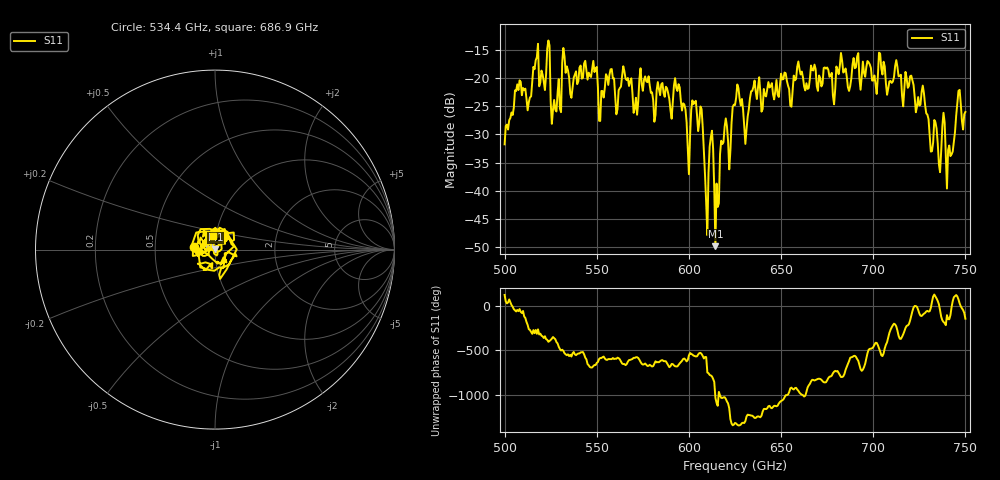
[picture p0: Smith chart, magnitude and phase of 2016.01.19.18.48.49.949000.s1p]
!Created with skrf (http://scikit-rf.org).
# GHz S RI R 50.0
!freq ReS11 ImS11
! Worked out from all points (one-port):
!   401 points, 500 GHz to 750 GHz, reference 50 ohm
!   lowest |S11| = -49.8 dB at 614.4 GHz (marker M1), VSWR 1.01, Z = 50.2 + j0.233 ohm
!   |S11| at or under -10 dB: start of sweep to end of sweep
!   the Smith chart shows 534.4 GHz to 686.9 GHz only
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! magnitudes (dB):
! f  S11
! 500 GHz  -31.8
! 507.5 GHz  -22.2
! 513.1 GHz  -24.3
! 516.9 GHz  -16.9
! 523.8 GHz  -13.4
! 526.9 GHz  -23.9
! 531.2 GHz  -17.3
! 562.5 GHz  -21.8
! 593.8 GHz  -22.3
! 599.4 GHz  -32.4
! 602.5 GHz  -24.6
! 606.2 GHz  -25.1
! 609.4 GHz  -42.3
! 612.5 GHz  -29.4
! 614.4 GHz  -49.8
! 615.6 GHz  -42.8
! 618.8 GHz  -31.4
! 621.9 GHz  -36.2
! 625 GHz  -24.8
! 631.2 GHz  -29.1
! 635 GHz  -21.6
! 656.2 GHz  -22.3
! 660 GHz  -18.5
! 687.5 GHz  -21.5
! 718.8 GHz  -21.8
! 740.6 GHz  -32.8
! 746.2 GHz  -22.3
! 750 GHz  -26.0
